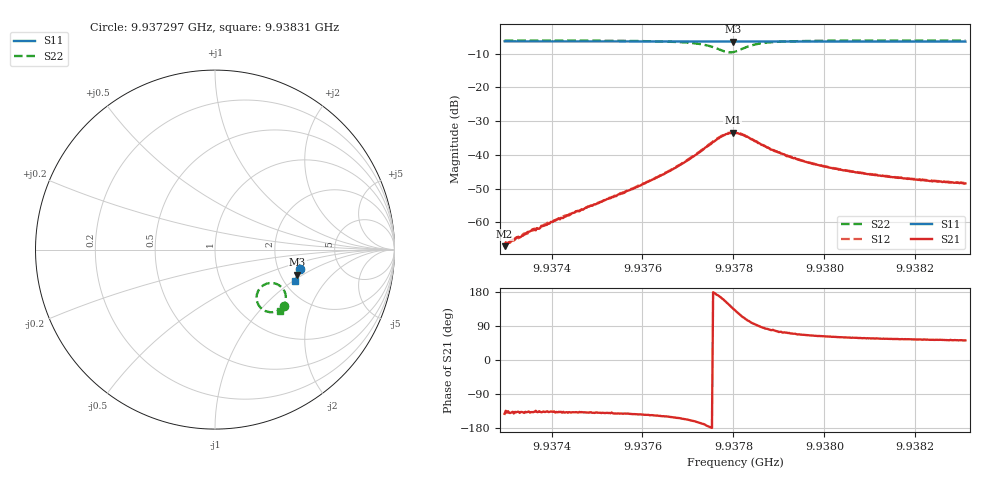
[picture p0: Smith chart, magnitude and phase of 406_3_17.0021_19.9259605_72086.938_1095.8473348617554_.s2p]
#  HZ  S  RI  R  50.00
! Rohde & Schwarz Vector Network Analyzer
! Rohde-Schwarz,ZNB20-2Port,1311601062101988,3.16
! Created: UTC 3/20/2024, 11:10:16 PM
! freq[Hz]  re:S11  im:S11  re:S21  im:S21  re:S12  im:S12  re:S22  im:S22
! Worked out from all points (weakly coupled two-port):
!   401 points, 9.937297 GHz to 9.93831 GHz, reference 50 ohm
!   highest |S21| = -33.44 dB at 9.937798 GHz (marker M1); lowest = -67.1 dB at 9.937297 GHz (marker M2)
!   lowest |S11| = -6.4 dB at 9.937798 GHz (marker M3), VSWR 2.84, Z = 123 - j44.6 ohm
!   |S11| at or under -10 dB: nowhere
!   |S22| runs from -9.6 to -6.1 dB; largest |S21 - S12| = 0.0009
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9.9372967e9  0.4713 -0.1082  -0.000347 -0.000272  -0.000366 -0.000302  0.3844 -0.3165
9.9373043e9  0.4712 -0.1088  -0.00035 -0.00035  -0.000364 -0.000335  0.3838 -0.317
9.9373347e9  0.4704 -0.1107  -0.000458 -0.000425  -0.000482 -0.000402  0.3813 -0.3193
9.937355e9  0.4701 -0.1121  -0.000553 -0.000506  -0.000566 -0.000489  0.3799 -0.3206
9.9373702e9  0.4697 -0.1132  -0.00059 -0.000538  -0.000602 -0.000549  0.3785 -0.3219
9.9374107e9  0.4689 -0.1159  -0.000797 -0.000742  -0.000794 -0.00074  0.3751 -0.3251
9.9374665e9  0.4677 -0.1196  -0.00114 -0.00105  -0.00117 -0.00102  0.3692 -0.3295
9.937583e9  0.465 -0.1274  -0.00257 -0.00195  -0.00264 -0.00196  0.3511 -0.3408
9.9376362e9  0.4637 -0.1312  -0.00402 -0.00256  -0.00413 -0.00256  0.3363 -0.346
9.9376869e9  0.4623 -0.1343  -0.00666 -0.00313  -0.00683 -0.0031  0.3123 -0.3491
9.9377376e9  0.4604 -0.1377  -0.0126 -0.00214  -0.0128 -0.00173  0.266 -0.3339
9.9377578e9  0.4596 -0.1388  -0.0158 0.000816  -0.0162 0.0013  0.2419 -0.307
9.9377781e9  0.4584 -0.1395  -0.0182 0.00676  -0.0181 0.00738  0.2326 -0.2571
9.9377984e9  0.4581 -0.1398  -0.0154 0.0147  -0.0152 0.0151  0.2644 -0.2023
9.9378035e9  0.4583 -0.1399  -0.014 0.0159  -0.0136 0.0165  0.2785 -0.1938
9.9378212e9  0.4584 -0.1407  -0.00761 0.0181  -0.0073 0.0185  0.3297 -0.1876
9.9378567e9  0.4586 -0.1431  0.00015 0.0149  0.00047 0.0149  0.3841 -0.2268
9.9379099e9  0.4578 -0.1471  0.00307 0.00975  0.00319 0.00967  0.3952 -0.2733
9.9379732e9  0.4562 -0.1515  0.0032 0.00669  0.00335 0.00668  0.3895 -0.2997
9.9380543e9  0.4541 -0.1569  0.00292 0.00491  0.00304 0.00491  0.3807 -0.3168
9.938143e9  0.4519 -0.1626  0.00265 0.0039  0.00278 0.00392  0.3727 -0.3285
9.9383102e9  0.447 -0.1734  0.00233 0.00296  0.00243 0.00295  0.3602 -0.3427
